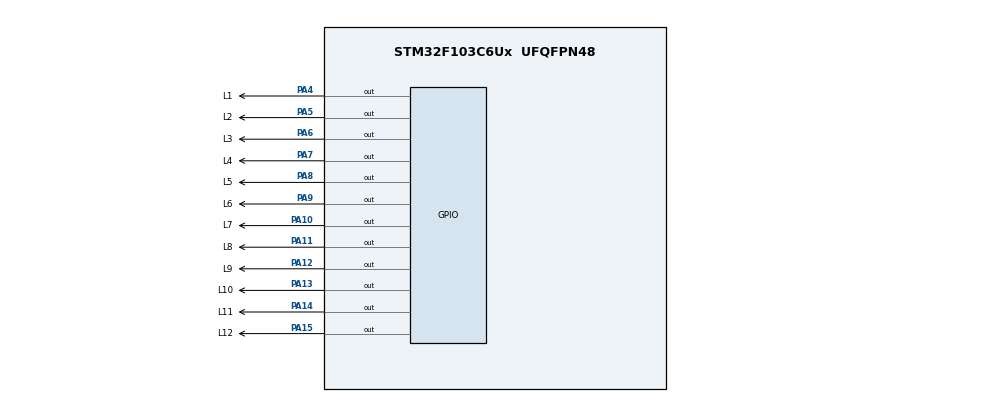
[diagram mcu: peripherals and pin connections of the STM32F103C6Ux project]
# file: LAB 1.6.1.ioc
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Mcu.Family=STM32F1
Mcu.Name=STM32F103C6Ux
Mcu.Package=UFQFPN48
NVIC.PriorityGroup=NVIC_PRIORITYGROUP_4
PA10.GPIO_Label=L7
PA10.Signal=GPIO_Output
PA11.GPIO_Label=L8
PA11.Signal=GPIO_Output
PA12.GPIO_Label=L9
PA12.Signal=GPIO_Output
PA13.GPIO_Label=L10
PA13.Signal=GPIO_Output
PA14.GPIO_Label=L11
PA14.Signal=GPIO_Output
PA15.GPIO_Label=L12
PA15.Signal=GPIO_Output
PA4.GPIO_Label=L1
PA4.Signal=GPIO_Output
PA5.GPIO_Label=L2
PA5.Signal=GPIO_Output
PA6.GPIO_Label=L3
PA6.Signal=GPIO_Output
PA7.GPIO_Label=L4
PA7.Signal=GPIO_Output
PA8.GPIO_Label=L5
PA8.Signal=GPIO_Output
PA9.GPIO_Label=L6
PA9.Signal=GPIO_Output
ProjectManager.HeapSize=0x200
ProjectManager.StackSize=0x400
ProjectManager.TargetToolchain=STM32CubeIDE
RCC.APB1Freq_Value=8000000
RCC.APB2Freq_Value=8000000
VP_SYS_VS_ND.Mode=No_Debug
board=custom

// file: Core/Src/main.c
/* USER CODE BEGIN Header */
/**
  ******************************************************************************
  * @file           : main.c
  * @brief          : Main program body
  ******************************************************************************
  * @attention
  *
  * <h2><center>&copy; Copyright (c) 2025 STMicroelectronics.
  * All rights reserved.</center></h2>
  *
  * This software component is licensed by ST under BSD 3-Clause license,
  * the "License"; You may not use this file except in compliance with the
  * License. You may obtain a copy of the License at:
  *                        opensource.org/licenses/BSD-3-Clause
  *
  ******************************************************************************
  */
/* USER CODE END Header */
#include "main.h"
uint16_t leds[]={L10_GPIO_Port,L2_GPIO_Port,L3_GPIO_Port,
		L4_GPIO_Port,L5_GPIO_Port,L6_GPIO_Port,
		L7_GPIO_Port,L8_GPIO_Port,L9_GPIO_Port,
		L10_GPIO_Port,L11_GPIO_Port,L12_GPIO_Port
};

void SystemClock_Config(void);
static void MX_GPIO_Init(void);

int main(void)
{

  /* MCU Configuration--------------------------------------------------------*/

  /* Reset of all peripherals, Initializes the Flash interface and the Systick. */
  HAL_Init();

  /* Configure the system clock */
  SystemClock_Config();

  /* Initialize all configured peripherals */
  MX_GPIO_Init();

  /* Infinite loop */
  /* USER CODE BEGIN WHILE */
  int counter = 0;
  while (1)
  {
  HAL_GPIO_WritePin(GPIOA, L1_Pin|L2_Pin|L3_Pin|L4_Pin
  	                            |L5_Pin|L6_Pin|L7_Pin|L8_Pin
  	                            |L9_Pin|L10_Pin|L11_Pin|L12_Pin, GPIO_PIN_SET);
	  switch(counter) {
	  	        case 0: HAL_GPIO_WritePin(L1_GPIO_Port, L1_Pin, RESET); break;
	  	        case 1: HAL_GPIO_WritePin(L2_GPIO_Port, L2_Pin, RESET); break;
	  	        case 2: HAL_GPIO_WritePin(L3_GPIO_Port, L3_Pin, RESET); break;
	  	        case 3: HAL_GPIO_WritePin(L4_GPIO_Port, L4_Pin, RESET); break;
	  	        case 4: HAL_GPIO_WritePin(L5_GPIO_Port, L5_Pin, RESET); break;
	  	        case 5: HAL_GPIO_WritePin(L6_GPIO_Port, L6_Pin, RESET); break;
	  	        case 6: HAL_GPIO_WritePin(L7_GPIO_Port, L7_Pin, RESET); break;
	  	        case 7: HAL_GPIO_WritePin(L8_GPIO_Port, L8_Pin, RESET); break;
	  	        case 8: HAL_GPIO_WritePin(L9_GPIO_Port, L9_Pin, RESET); break;
	  	        case 9: HAL_GPIO_WritePin(L10_GPIO_Port, L10_Pin, RESET); break;
	  	        case 10: HAL_GPIO_WritePin(L11_GPIO_Port, L11_Pin, RESET); break;
	  	        case 11: HAL_GPIO_WritePin(L12_GPIO_Port, L12_Pin, RESET); break;
	  	    }
	  HAL_Delay(1000);
	  counter++;
	  if(counter >= 12) counter = 0;
	}
    /* USER CODE END WHILE */

  }

void SystemClock_Config(void)
{
  RCC_OscInitTypeDef RCC_OscInitStruct = {0};
  RCC_ClkInitTypeDef RCC_ClkInitStruct = {0};

  /** Initializes the RCC Oscillators according to the specified parameters
  * in the RCC_OscInitTypeDef structure.
  */
  RCC_OscInitStruct.OscillatorType = RCC_OSCILLATORTYPE_HSI;
  RCC_OscInitStruct.HSIState = RCC_HSI_ON;
  RCC_OscInitStruct.HSICalibrationValue = RCC_HSICALIBRATION_DEFAULT;
  RCC_OscInitStruct.PLL.PLLState = RCC_PLL_NONE;
  if (HAL_RCC_OscConfig(&RCC_OscInitStruct) != HAL_OK)
  {
    Error_Handler();
  }
  /** Initializes the CPU, AHB and APB buses clocks
  */
  RCC_ClkInitStruct.ClockType = RCC_CLOCKTYPE_HCLK|RCC_CLOCKTYPE_SYSCLK
                              |RCC_CLOCKTYPE_PCLK1|RCC_CLOCKTYPE_PCLK2;
  RCC_ClkInitStruct.SYSCLKSource = RCC_SYSCLKSOURCE_HSI;
  RCC_ClkInitStruct.AHBCLKDivider = RCC_SYSCLK_DIV1;
  RCC_ClkInitStruct.APB1CLKDivider = RCC_HCLK_DIV1;
  RCC_ClkInitStruct.APB2CLKDivider = RCC_HCLK_DIV1;

  if (HAL_RCC_ClockConfig(&RCC_ClkInitStruct, FLASH_LATENCY_0) != HAL_OK)
  {
    Error_Handler();
  }
}

static void MX_GPIO_Init(void)
{
  GPIO_InitTypeDef GPIO_InitStruct = {0};

  /* GPIO Ports Clock Enable */
  __HAL_RCC_GPIOA_CLK_ENABLE();

  /*Configure GPIO pin Output Level */
  HAL_GPIO_WritePin(GPIOA, L1_Pin|L2_Pin|L3_Pin|L4_Pin
                          |L5_Pin|L6_Pin|L7_Pin|L8_Pin
                          |L9_Pin|L10_Pin|L11_Pin|L12_Pin, GPIO_PIN_RESET);

  /*Configure GPIO pins : L1_Pin L2_Pin L3_Pin L4_Pin
                           L5_Pin L6_Pin L7_Pin L8_Pin
                           L9_Pin L10_Pin L11_Pin L12_Pin */
  GPIO_InitStruct.Pin = L1_Pin|L2_Pin|L3_Pin|L4_Pin
                          |L5_Pin|L6_Pin|L7_Pin|L8_Pin
                          |L9_Pin|L10_Pin|L11_Pin|L12_Pin;
  GPIO_InitStruct.Mode = GPIO_MODE_OUTPUT_PP;
  GPIO_InitStruct.Pull = GPIO_NOPULL;
  GPIO_InitStruct.Speed = GPIO_SPEED_FREQ_LOW;
  HAL_GPIO_Init(GPIOA, &GPIO_InitStruct);

}

void Error_Handler(void)
{
  __disable_irq();
  while (1)
  {
  }
}

/************************ (C) COPYRIGHT STMicroelectronics *****END OF FILE****/
